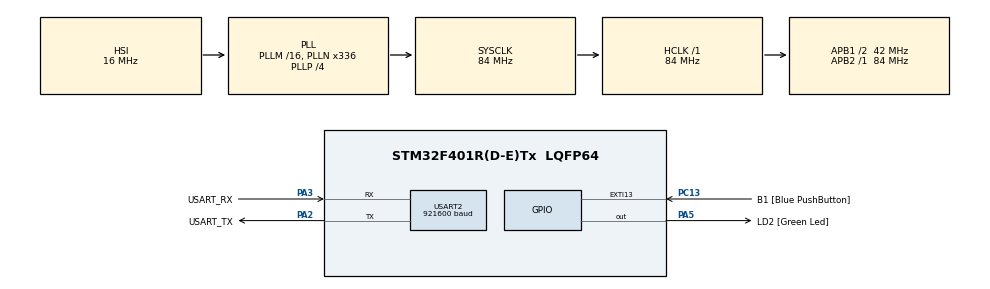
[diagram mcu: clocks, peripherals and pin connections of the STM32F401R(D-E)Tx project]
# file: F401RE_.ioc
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Mcu.Family=STM32F4
Mcu.Name=STM32F401R(D-E)Tx
Mcu.Package=LQFP64
Mcu.UserConstants=yCubeMX,"1-4"
NVIC.EXTI15_10_IRQn=true\:0\:0\:true\:true\:true\:2\:true\:true\:true
NVIC.PriorityGroup=NVIC_PRIORITYGROUP_0
NVIC.TIM1_TRG_COM_TIM11_IRQn=true\:0\:0\:false\:false\:true\:true\:true\:true
NVIC.TIM1_UP_TIM10_IRQn=true\:0\:0\:false\:false\:true\:true\:true\:true
NVIC.USART2_IRQn=true\:0\:0\:false\:true\:true\:1\:true\:true\:true
PA13.GPIO_Label=TMS
PA13.Mode=Serial_Wire
PA13.Signal=SYS_JTMS-SWDIO
PA14.GPIO_Label=TCK
PA14.Mode=Serial_Wire
PA14.Signal=SYS_JTCK-SWCLK
PA2.GPIO_Label=USART_TX
PA2.GPIO_Mode=GPIO_MODE_AF_PP
PA2.GPIO_PuPd=GPIO_NOPULL
PA2.GPIO_Speed=GPIO_SPEED_FREQ_LOW
PA2.Mode=Asynchronous
PA2.Signal=USART2_TX
PA3.GPIO_Label=USART_RX
PA3.GPIO_Mode=GPIO_MODE_AF_PP
PA3.GPIO_PuPd=GPIO_NOPULL
PA3.GPIO_Speed=GPIO_SPEED_FREQ_LOW
PA3.Mode=Asynchronous
PA3.Signal=USART2_RX
PA5.GPIO_Label=LD2 [Green Led]
PA5.GPIO_Mode=GPIO_MODE_OUTPUT_PP
PA5.GPIO_PuPd=GPIO_NOPULL
PA5.GPIO_Speed=GPIO_SPEED_FREQ_LOW
PA5.Signal=GPIO_Output
PB3.GPIO_Label=SWO
PB3.Signal=SYS_JTDO-SWO
PC13-ANTI_TAMP.GPIO_Label=B1 [Blue PushButton]
PC13-ANTI_TAMP.GPIO_ModeDefaultEXTI=GPIO_MODE_IT_FALLING
PC13-ANTI_TAMP.GPIO_PuPd=GPIO_NOPULL
PC13-ANTI_TAMP.Signal=GPXTI13
ProjectManager.HeapSize=0x200
ProjectManager.StackSize=0x400
ProjectManager.TargetToolchain=STM32CubeIDE
RCC.48MHZClocksFreq_Value=48000000
RCC.AHBFreq_Value=84000000
RCC.APB1CLKDivider=RCC_HCLK_DIV2
RCC.APB1Freq_Value=42000000
RCC.APB1TimFreq_Value=84000000
RCC.APB2Freq_Value=84000000
RCC.APB2TimFreq_Value=84000000
RCC.CortexFreq_Value=84000000
RCC.HCLKFreq_Value=84000000
RCC.HSE_VALUE=8000000
RCC.HSI_VALUE=16000000
RCC.LSE_VALUE=32768
RCC.PLLN=336
RCC.PLLP=RCC_PLLP_DIV4
RCC.PLLQ=7
RCC.SYSCLKFreq_VALUE=84000000
RCC.SYSCLKSource=RCC_SYSCLKSOURCE_PLLCLK
RCC.VCOOutputFreq_Value=336000000
TIM10.Period=7999
TIM10.Prescaler=4999
TIM11.Period=1999
TIM11.Prescaler=199
USART2.BaudRate=921600
USART2.VirtualMode=VM_ASYNC
VP_TIM10_VS_ClockSourceINT.Mode=Enable_Timer
VP_TIM11_VS_ClockSourceINT.Mode=Enable_Timer
board=NUCLEO-F401RE

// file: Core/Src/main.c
/* USER CODE BEGIN Header */
/**
  ******************************************************************************
  * @file           : main.c
  * @brief          : Main program body
  ******************************************************************************
  * @attention
  *
  * <h2><center>&copy; Copyright (c) 2019 STMicroelectronics.
  * All rights reserved.</center></h2>
  *
  * This software component is licensed by ST under BSD 3-Clause license,
  * the "License"; You may not use this file except in compliance with the
  * License. You may obtain a copy of the License at:
  *                        opensource.org/licenses/BSD-3-Clause
  *
  ******************************************************************************
  */
/* USER CODE END Header */
#include "main.h"
#include "tim.h"
#include "usart.h"
#include "gpio.h"

/* USER CODE BEGIN Includes */
/**  pour Doxygen
 * \mainpage F401RE_ gИnИrИ par StmCube
 *  blabla
 *  toto
 *
 *
*/

//pour debug print
#include <stdio.h>
#include <string.h>
#include <math.h>
#include "screen.h"

/* USER CODE END Includes */

/* USER CODE BEGIN PV */
/* Private variables ---------------------------------------------------------*/
float j,k;
char aTxBuffer[1024];		    //buffer d'emission
uint8_t aRxBuffer[1024];		//buffer de reception

/* USER CODE END PV */

void SystemClock_Config(void);
static void MX_NVIC_Init(void);
/* USER CODE BEGIN PFP */
/* Private function prototypes -----------------------------------------------*/

/* USER CODE END PFP */

/* USER CODE BEGIN 0 */

/*
 * Allume/eteint la LED au rythme du TIM6
 *  avec/sans tracage de l'heure
 */
void yLedStartStop(int StartStop, int optTime) {
	if (StartStop == 1) {
		HAL_TIM_Base_Start_IT(&htim10);
		//optPrintTime = optTime;
	} else {
		HAL_TIM_Base_Stop_IT(&htim10);
		//optPrintTime = 0;
	}
}

/*
 * EXTI15_10 callback
 */
void HAL_GPIO_EXTI_Callback(uint16_t GPIO_Pin)
{
  /** PC13 (B1 blue button) */
	if(GPIO_Pin == B1_Pin) {
		snprintf(aTxBuffer, 1024, "\tdebug: B1 pressed\r\n");
		HAL_UART_Transmit(&huart2,(uint8_t *) aTxBuffer, strlen(aTxBuffer), 5000);
	}
}

/*
 * TIM6 & TIM7 callback
 */
void HAL_TIM_PeriodElapsedCallback(TIM_HandleTypeDef *htim) {

	/** TIM10 - clignotement LD2 */
	if(htim->Instance == TIM10) {
		HAL_GPIO_TogglePin(LD2_GPIO_Port,LD2_Pin);
	} //TIM10

	/** TIM11 - affichage heure sur LCD */
	if(htim->Instance == TIM11) {
		//Afficher date & heure
//		yDisplayDate();
//		yDisplayHeure();
	} //TIM11

	/* manage an other TIM if any! */
}	//TIMs callback

/* USER CODE END 0 */

int main(void)
{

  /* MCU Configuration--------------------------------------------------------*/

  /* Reset of all peripherals, Initializes the Flash interface and the Systick. */
  HAL_Init();

  /* Configure the system clock */
  SystemClock_Config();

  /* Initialize all configured peripherals */
  MX_GPIO_Init();
  MX_USART2_UART_Init();
  MX_TIM10_Init();
  MX_TIM11_Init();

  /* Initialize interrupts */
  MX_NVIC_Init();
  /* USER CODE BEGIN 2 */
  //message de bienvenue
   snprintf(aTxBuffer, 1024, clrscr homescr
 		  	  	  	  	   "\n\nBonjour maНtre!"
 		  	  	  	  	  	 "\n(c)Jean92, " yDATE
 							 "\n" yPROG " " yVER
 						     "\nCompil: " __TIME__" le "__DATE__
 						     "\nSTmicro NUCLEO_F401RE"
 							 "\r\n");
   HAL_UART_Transmit(&huart2,(uint8_t *) aTxBuffer, strlen(aTxBuffer), 5000);

   //test led Led on Nucleo
   for (int ii = 0; ii < 20; ++ii) {
     HAL_GPIO_WritePin(LD2_GPIO_Port, LD2_Pin, GPIO_PIN_SET);
     HAL_Delay(30);
     HAL_GPIO_WritePin(LD2_GPIO_Port, LD2_Pin, GPIO_PIN_RESET);
     HAL_Delay(30
    		 );
   }

   //init LCD, msg de bienvenue
//   yI2C_LCD_init();
//   HAL_Delay(50);
//   yI2C_LCD_locate(0,0); yI2C_LCD_Affich_Txt("Bonjour maitre!!!");
//   yI2C_LCD_locate(1,1); yI2C_LCD_Affich_Txt(yVER);
//   yI2C_LCD_locate(7,1); yI2C_LCD_Affich_Txt(__TIME__);
//   HAL_Delay(2000);

   //demarrer les timers
   HAL_TIM_Base_Start_IT(&htim10);

   /* other inits */

   //afficher fin des inits
   snprintf(aTxBuffer, 1024, "\tfin inits\r\n");
   HAL_UART_Transmit(&huart2,(uint8_t *) aTxBuffer, strlen(aTxBuffer), 5000);

  /* USER CODE END 2 */

  /* Infinite loop */
  while (1)
  {

  }
}

void SystemClock_Config(void)
{
  RCC_OscInitTypeDef RCC_OscInitStruct = {0};
  RCC_ClkInitTypeDef RCC_ClkInitStruct = {0};

  /** Configure the main internal regulator output voltage
  */
  __HAL_RCC_PWR_CLK_ENABLE();
  __HAL_PWR_VOLTAGESCALING_CONFIG(PWR_REGULATOR_VOLTAGE_SCALE2);

  /** Initializes the RCC Oscillators according to the specified parameters
  * in the RCC_OscInitTypeDef structure.
  */
  RCC_OscInitStruct.OscillatorType = RCC_OSCILLATORTYPE_HSI;
  RCC_OscInitStruct.HSIState = RCC_HSI_ON;
  RCC_OscInitStruct.HSICalibrationValue = RCC_HSICALIBRATION_DEFAULT;
  RCC_OscInitStruct.PLL.PLLState = RCC_PLL_ON;
  RCC_OscInitStruct.PLL.PLLSource = RCC_PLLSOURCE_HSI;
  RCC_OscInitStruct.PLL.PLLM = 16;
  RCC_OscInitStruct.PLL.PLLN = 336;
  RCC_OscInitStruct.PLL.PLLP = RCC_PLLP_DIV4;
  RCC_OscInitStruct.PLL.PLLQ = 7;
  if (HAL_RCC_OscConfig(&RCC_OscInitStruct) != HAL_OK)
  {
    Error_Handler();
  }

  /** Initializes the CPU, AHB and APB buses clocks
  */
  RCC_ClkInitStruct.ClockType = RCC_CLOCKTYPE_HCLK|RCC_CLOCKTYPE_SYSCLK
                              |RCC_CLOCKTYPE_PCLK1|RCC_CLOCKTYPE_PCLK2;
  RCC_ClkInitStruct.SYSCLKSource = RCC_SYSCLKSOURCE_PLLCLK;
  RCC_ClkInitStruct.AHBCLKDivider = RCC_SYSCLK_DIV1;
  RCC_ClkInitStruct.APB1CLKDivider = RCC_HCLK_DIV2;
  RCC_ClkInitStruct.APB2CLKDivider = RCC_HCLK_DIV1;

  if (HAL_RCC_ClockConfig(&RCC_ClkInitStruct, FLASH_LATENCY_2) != HAL_OK)
  {
    Error_Handler();
  }
}

/**
  * @brief NVIC Configuration.
  * @retval None
  */
static void MX_NVIC_Init(void)
{
  /* USART2_IRQn interrupt configuration */
  HAL_NVIC_SetPriority(USART2_IRQn, 0, 0);
  HAL_NVIC_EnableIRQ(USART2_IRQn);
  /* EXTI15_10_IRQn interrupt configuration */
  HAL_NVIC_SetPriority(EXTI15_10_IRQn, 0, 0);
  HAL_NVIC_EnableIRQ(EXTI15_10_IRQn);
}

void Error_Handler(void)
{
  while(1)
  {
  }
}
